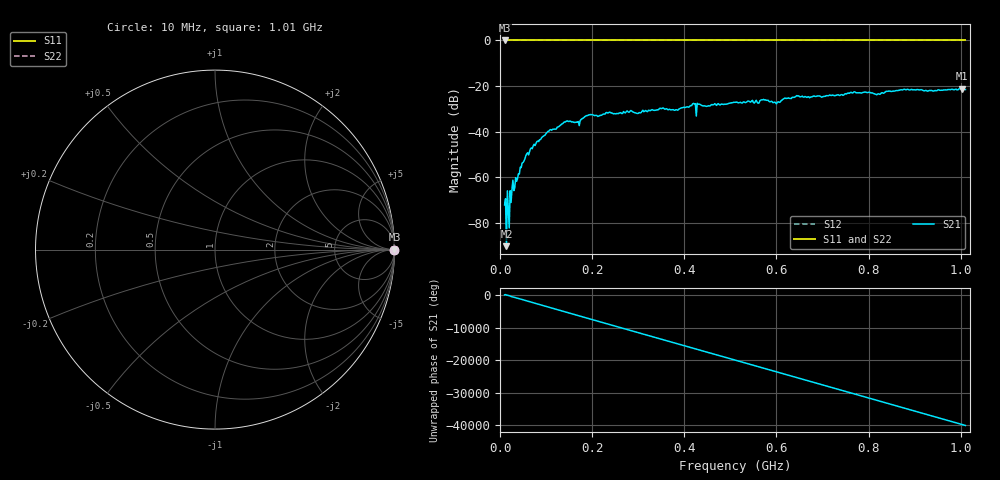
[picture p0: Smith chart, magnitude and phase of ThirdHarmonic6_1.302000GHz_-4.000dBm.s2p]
! 8/16/2025 2:19:41 PM
! C:\ANRITSUVNA\TEMP\TEMP.S2P
! CHANNEL.1
! TR.MEASUREMENT
! RAW.DATA
! RF.CORRECTION.OFF
! AVERAGING.OFF
! IF.BANDWIDTH: 5KHZ
! SWEEPTYPE:  FREQ.SWEEP(Linear)
! Reference Plane Port Info
! PORT:  PORT1  PORT2
! DISTANCE:  0  m  0  m
! TIME:  0  s  0  s
! PHASE.OFFSET:  0  deg.  0  deg.
! LOSS:  0  dB  0  dB
! REF.LOSS:  0  dB  0  dB
! REF.FREQ:  0  Hz  0  Hz
! Power Info
! POWER:  -20  dBm  -20  dBm
! EFF.POWER:  -20  dBm  -20  dBm
! SOURCE.ATTEN:  0  dB  0  dB
! TEST.ATTEN:  0  dB  0  dB
# GHZ S RI R 50.0
! FREQ.GHZ  S11RE  S11IM  S21RE  S21IM  S12RE  S12IM  S22RE  S22IM
!; PortSelection: Port_12
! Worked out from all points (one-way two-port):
!   501 points, 10 MHz to 1.01 GHz, reference 50 ohm
!   highest |S21| = -21.06 dB at 1.002 GHz (marker M1); lowest = -90.1 dB at 14 MHz (marker M2)
!   lowest |S11| = 0.0 dB at 10 MHz (marker M3)
!   |S11| at or under -10 dB: nowhere
!   |S22| runs from 0.0 to 0.0 dB; largest |S21 - S12| = 1.1
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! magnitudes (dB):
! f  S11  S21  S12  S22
! 10 MHz  0.0  -72.0  0.0  0.0
! 14 MHz  0.0  -90.1  0.0  0.0
! 18 MHz  0.0  -73.9  0.0  0.0
! 22 MHz  0.0  -65.8  0.0  0.0
! 26 MHz  0.0  -65.1  0.0  0.0
! 30 MHz  0.0  -65.8  0.0  0.0
! 52 MHz  0.0  -52.8  0.0  0.0
! 70 MHz  0.0  -47.4  0.0  0.0
! 106 MHz  0.0  -39.8  0.0  0.0
! 142 MHz  0.0  -35.7  0.0  0.0
! 168 MHz  0.0  -35.7  0.0  0.0
! 178 MHz  0.0  -34.3  0.0  0.0
! 196 MHz  0.0  -32.5  0.0  0.0
! 344 MHz  0.0  -30.3  0.0  0.0
! 510 MHz  0.0  -27.1  0.0  0.0
! 572 MHz  0.0  -25.8  0.0  0.0
! 602 MHz  0.0  -27.1  0.0  0.0
! 644 MHz  0.0  -24.2  0.0  0.0
! 678 MHz  0.0  -24.6  0.0  0.0
! 844 MHz  0.0  -22.2  0.0  0.0
! 1.002 GHz  0.0  -21.1  0.0  0.0
! 1.01 GHz  0.0  -21.5  0.0  0.0
